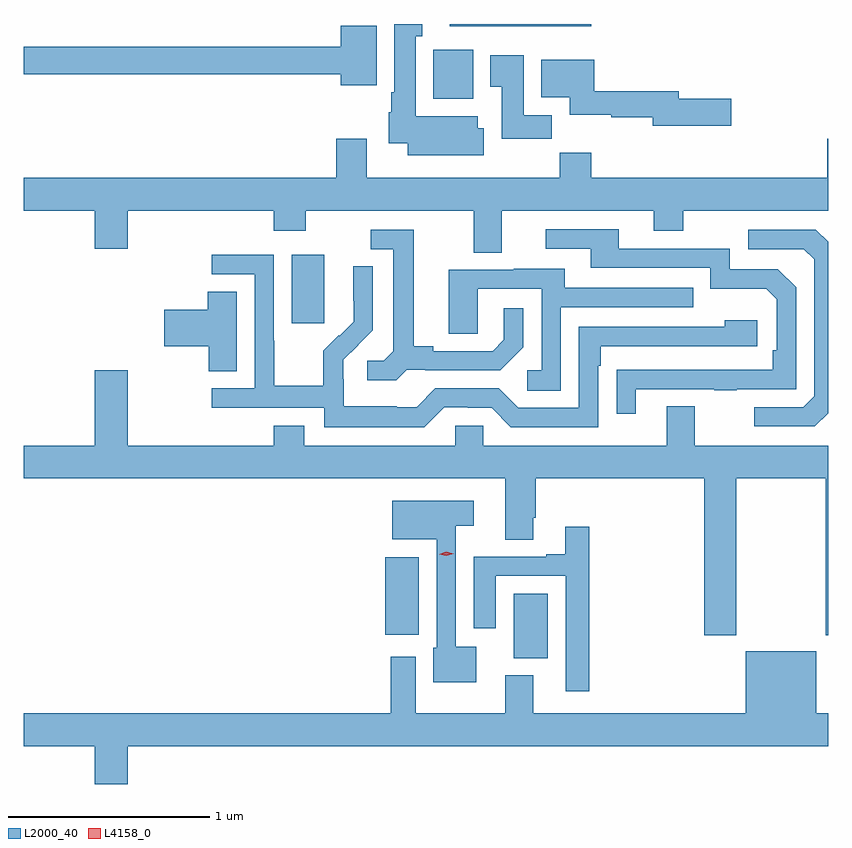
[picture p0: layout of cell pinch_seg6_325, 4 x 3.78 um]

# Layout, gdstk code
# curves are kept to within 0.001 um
import gdstk
lib = gdstk.Library(unit=1e-6, precision=1e-09)
def R(c, l, rs):  # rectangles x0, y0, x1, y1
    for r in rs: c.add(gdstk.rectangle(r[:2], r[2:], *l))
def P(c, l, *ps):  # polygons
    for p in ps: c.add(gdstk.Polygon(p, *l))
L2000_40 = (2000, 40)
L4158_0 = (4158, 0)

pinch_seg6_325 = lib.new_cell('pinch_seg6_325')
R(pinch_seg6_325, L2000_40, [(718.541,982.406,718.711,982.726), (717.902,982.523,718.069,982.909), (717.437,984.072,717.598,984.412), (718.142,985.19,718.339,985.432), (718.223,985.55,718.928,985.561)])
P(pinch_seg6_325, L2000_40, [(718.393,985.043),(718.363,985.043),(718.363,985.102),(718.054,985.102),(718.054,985.499),(718.087,985.499),(718.087,985.561),(717.947,985.561),(717.947,985.222),(717.932,985.222),(717.932,985.122),(717.92,985.122),(717.92,984.968),(718.013,984.968),(718.013,984.908),(718.393,984.908)],
  [(717.859,985.552),(717.68,985.552),(717.68,985.448),(716.105,985.448),(716.105,985.312),(717.68,985.312),(717.68,985.256),(717.859,985.256)],
  [(718.73,985.108),(718.591,985.108),(718.591,985.405),(718.424,985.405),(718.424,985.249),(718.481,985.249),(718.481,984.99),(718.73,984.99)],
  [(719.623,985.19),(719.362,985.19),(719.362,985.226),(718.943,985.226),(718.943,985.384),(718.679,985.384),(718.679,985.196),(718.82,985.196),(718.82,985.109),(719.026,985.109),(719.026,985.098),(719.234,985.098),(719.234,985.055),(719.623,985.055)],
  [(718.483,984.632),(719.237,984.632),(719.237,984.533),(719.385,984.533),(719.385,984.632),(720.105,984.632),(720.105,984.991),(720.101,984.991),(720.101,984.796),(718.928,984.796),(718.928,984.92),(718.771,984.92),(718.771,984.796),(717.811,984.796),(717.811,984.991),(717.659,984.991),(717.659,984.796),(716.105,984.796),(716.105,984.632),(716.456,984.632),(716.456,984.444),(716.62,984.444),(716.62,984.632),(717.347,984.632),(717.347,984.533),(717.507,984.533),(717.507,984.632),(718.343,984.632),(718.343,984.424),(718.483,984.424)],
  [(719.149,983.745),(719.539,983.745),(719.539,983.74),(719.651,983.74),(719.651,983.745),(719.946,983.745),(719.946,984.252),(719.856,984.342),(719.616,984.342),(719.616,984.444),(719.065,984.444),(719.065,984.54),(718.701,984.54),(718.701,984.444),(718.925,984.444),(718.925,984.348),(719.52,984.348),(719.52,984.245),(719.797,984.245),(719.85,984.192),(719.85,983.938),(719.83,983.938),(719.83,983.841),(719.053,983.84),(719.053,983.622),(719.149,983.622)],
  [(718.008,983.841),(718.102,983.841),(718.102,983.838),(718.474,983.838),(718.59,983.954),(718.59,984.148),(718.493,984.148),(718.493,983.991),(718.436,983.934),(718.141,983.934),(718.141,983.957),(718.045,983.957),(718.045,984.537),(717.831,984.537),(717.831,984.441),(717.941,984.441),(717.941,983.933),(717.894,983.886),(717.813,983.886),(717.813,983.789),(717.956,983.789)],
  [(720.105,983.625),(720.105,984.477),(720.045,984.537),(719.709,984.537),(719.709,984.441),(719.985,984.441),(720.036,984.39),(720.036,983.709),(719.982,983.655),(719.739,983.655),(719.739,983.559),(720.039,983.559)],
  [(718.197,983.655),(718.313,983.655),(718.313,983.652),(718.431,983.652),(718.527,983.556),(718.962,983.556),(718.962,983.861),(718.975,983.861),(718.975,983.958),(719.752,983.958),(719.752,984.088),(719.591,984.088),(719.591,984.054),(718.866,984.054),(718.866,983.652),(718.563,983.652),(718.467,983.748),(718.152,983.748),(718.059,983.655),(717.959,983.655),(717.959,983.659),(717.696,983.659),(717.696,983.793),(717.694,983.793),(717.694,983.89),(717.84,984.038),(717.84,984.356),(717.743,984.356),(717.743,984.184),(717.746,984.184),(717.746,984.08),(717.675,984.009),(717.672,984.012),(717.595,983.935),(717.595,983.761),(717.351,983.761),(717.351,983.984),(717.348,983.984),(717.348,984.414),(717.039,984.414),(717.039,984.315),(717.252,984.315),(717.252,983.748),(717.039,983.748),(717.039,983.652),(717.6,983.652),(717.6,983.555),(718.097,983.555)],
  [(718.776,984.153),(719.435,984.153),(719.435,984.249),(718.795,984.249),(718.795,984.343),(718.541,984.343),(718.541,984.339),(718.217,984.339),(718.217,984.019),(718.362,984.019),(718.362,984.243),(718.68,984.243),(718.68,983.838),(718.608,983.838),(718.608,983.737),(718.776,983.737)],
  [(717.163,984.23),(717.02,984.23),(717.02,984.14),(716.802,984.14),(716.802,983.957),(717.025,983.957),(717.025,983.833),(717.163,983.833)],
  [(719.649,983.3),(720.094,983.3),(720.094,982.521),(720.105,982.521),(720.105,983.464),(719.443,983.464),(719.443,983.659),(719.303,983.659),(719.303,983.464),(718.389,983.464),(718.389,983.562),(718.251,983.562),(718.251,983.464),(717.499,983.464),(717.499,983.563),(717.347,983.563),(717.347,983.464),(716.62,983.464),(716.62,983.839),(716.456,983.839),(716.456,983.464),(716.105,983.464),(716.105,983.3),(718.499,983.3),(718.499,982.996),(718.639,982.996),(718.639,983.104),(718.652,983.104),(718.652,983.3),(719.489,983.3),(719.489,982.521),(719.649,982.521)],
  [(718.354,982.462),(718.254,982.462),(718.254,983.066),(718.342,983.066),(718.342,983.188),(717.938,983.188),(717.938,982.998),(718.158,982.998),(718.158,982.458),(718.142,982.458),(718.142,982.286),(718.354,982.286)],
  [(718.916,983.059),(718.799,983.059),(718.799,982.924),(718.703,982.924),(718.703,982.911),(718.343,982.911),(718.343,982.554),(718.453,982.554),(718.453,982.815),(718.8,982.815),(718.8,982.242),(718.916,982.242)],
  [(716.62,981.968),(720.105,981.968),(720.105,982.132),(720.046,982.132),(720.046,982.441),(719.696,982.441),(719.696,982.132),(718.639,982.132),(718.639,982.321),(718.499,982.321),(718.499,982.132),(718.054,982.132),(718.054,982.414),(717.929,982.414),(717.929,982.132),(716.105,982.132),(716.105,981.968),(716.456,981.968),(716.456,981.78),(716.62,981.78)])
P(pinch_seg6_325, L4158_0, [(718.206,982.915),(718.17,982.924),(718.17,982.924),(718.17,982.924),(718.206,982.935),(718.242,982.926),(718.242,982.926),(718.242,982.926)])

lib.write_gds('pinch_seg6_325.gds')
